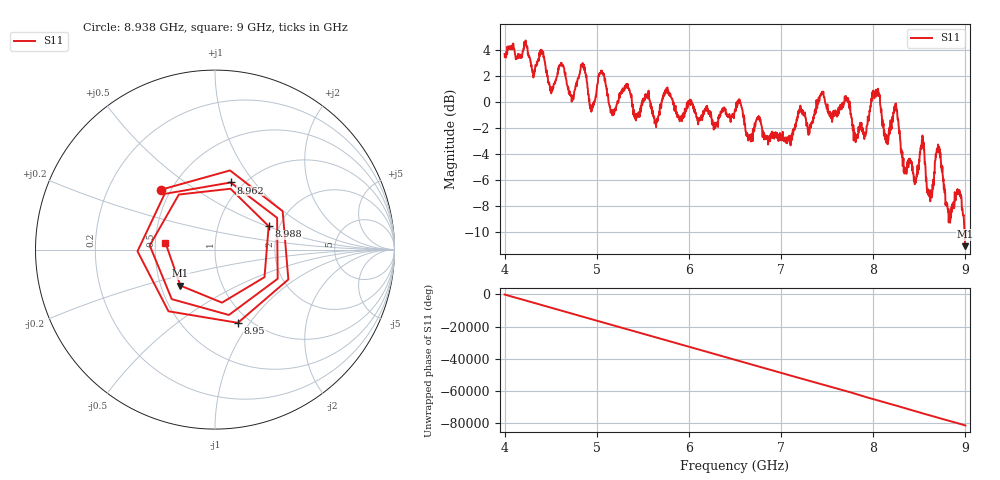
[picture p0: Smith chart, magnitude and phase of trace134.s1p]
! Created with skrf 1.8.0 (http://scikit-rf.org).
# Hz S RI R 50.0
!freq ReS11 ImS11
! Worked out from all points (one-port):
!   1601 points, 4 GHz to 9 GHz, reference 50 ohm
!   lowest |S11| = -11.1 dB at 8.997 GHz (marker M1), VSWR 1.77, Z = 31.5 - j13.7 ohm
!   |S11| at or under -10 dB: 8.990832 GHz to end of sweep
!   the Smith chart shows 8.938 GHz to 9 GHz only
!   S11 on the Smith chart (normalised r, x): 8.938 GHz: 0.44, +0.37; 8.95 GHz: 0.88, -0.88; 8.962 GHz: 0.88, +0.77; 8.988 GHz: 1.76, +0.51; 9 GHz: 0.57, +0.05
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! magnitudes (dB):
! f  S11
! 4 GHz  3.7
! 4.625 GHz  2.7
! 4.728 GHz  0.0
! 4.844 GHz  2.8
! 4.941 GHz  -0.8
! 5.044 GHz  2.2
! 5.162 GHz  -0.9
! 5.25 GHz  0.3
! 5.875 GHz  -1.2
! 6.5 GHz  -0.6
! 7.125 GHz  -2.3
! 7.444 GHz  0.8
! 7.75 GHz  -0.4
! 7.903 GHz  -2.9
! 8.047 GHz  0.9
! 8.147 GHz  -3.0
! 8.244 GHz  -0.2
! 8.375 GHz  -4.9
! 8.531 GHz  -3.2
! 8.616 GHz  -7.4
! 8.706 GHz  -3.4
! 8.812 GHz  -8.5
! 8.938 GHz  -6.9
! 8.95 GHz  -7.4
! 8.962 GHz  -8.3
! 8.988 GHz  -9.7
! 8.997 GHz  -11.1
! 9 GHz  -11.1
